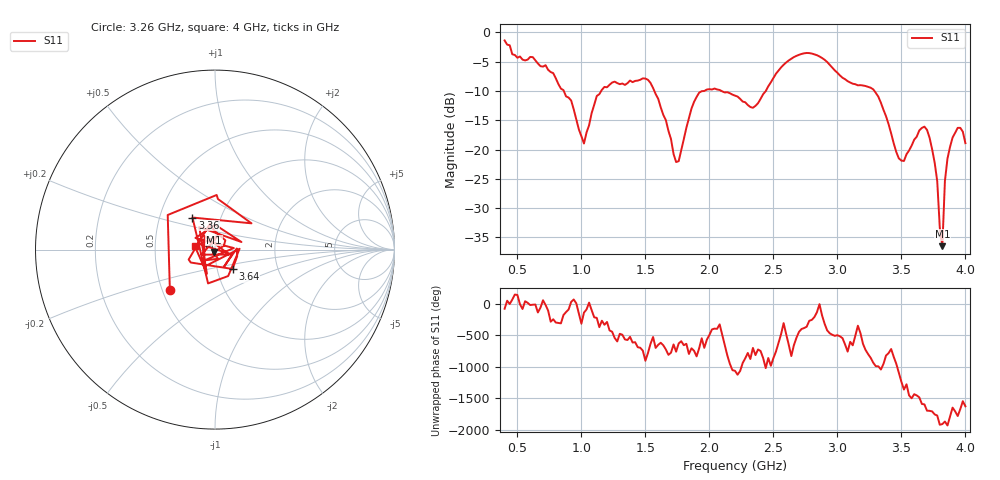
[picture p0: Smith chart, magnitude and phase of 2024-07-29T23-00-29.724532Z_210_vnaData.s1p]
!Created with skrf (http://scikit-rf.org).
# Hz S RI R 50.0
!freq ReS11 ImS11
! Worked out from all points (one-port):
!   181 points, 400 MHz to 4 GHz, reference 50 ohm
!   lowest |S11| = -36.5 dB at 3.82 GHz (marker M1), VSWR 1.03, Z = 49.4 - j1.37 ohm
!   |S11| at or under -10 dB: 1.57 GHz to 1.96 GHz (390.4 MHz wide, 22.1 % of centre); 2.094 GHz to 2.441 GHz (346.4 MHz wide, 15.3 % of centre); 3.289 GHz to end of sweep (the widest 3 of 4)
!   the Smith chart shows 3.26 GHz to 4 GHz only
!   S11 on the Smith chart (normalised r, x): 3.26 GHz: 0.55, -0.28; 3.36 GHz: 0.73, +0.28; 3.64 GHz: 1.19, -0.26; 4 GHz: 0.80, +0.03
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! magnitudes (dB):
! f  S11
! 400 MHz  -1.4
! 720 MHz  -5.6
! 860 MHz  -9.9
! 1.02 GHz  -19.0
! 1.12 GHz  -10.9
! 1.3 GHz  -8.8
! 1.54 GHz  -8.6
! 1.76 GHz  -22.0
! 1.92 GHz  -10.3
! 2.2 GHz  -10.8
! 2.34 GHz  -12.9
! 2.66 GHz  -4.2
! 2.84 GHz  -3.9
! 3.1 GHz  -8.6
! 3.26 GHz  -9.4
! 3.36 GHz  -13.2
! 3.48 GHz  -21.5
! 3.56 GHz  -20.2
! 3.64 GHz  -16.7
! 3.7 GHz  -16.6
! 3.74 GHz  -19.9
! 3.78 GHz  -25.4
! 3.8 GHz  -33.3
! 3.82 GHz  -36.5
! 3.84 GHz  -25.4
! 3.88 GHz  -19.5
! 3.94 GHz  -16.3
! 4 GHz  -18.9
